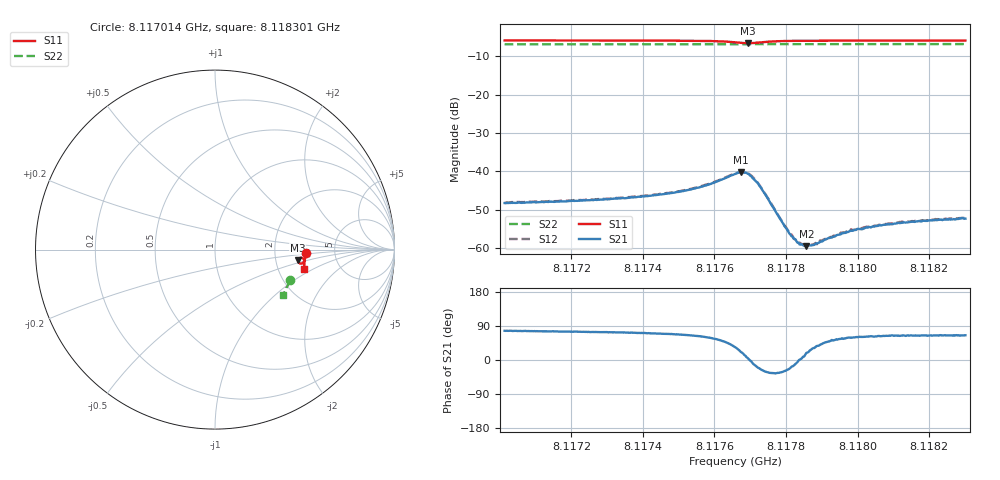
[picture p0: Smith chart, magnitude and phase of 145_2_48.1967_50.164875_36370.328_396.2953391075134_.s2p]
#  HZ  S  RI  R  50.00
! Rohde & Schwarz Vector Network Analyzer
! Rohde-Schwarz,ZNB20-2Port,1311601062101988,3.16
! Created: UTC 3/20/2024, 11:42:34 AM
! freq[Hz]  re:S11  im:S11  re:S21  im:S21  re:S12  im:S12  re:S22  im:S22
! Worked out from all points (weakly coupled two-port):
!   401 points, 8.117014 GHz to 8.118301 GHz, reference 50 ohm
!   highest |S21| = -40.14 dB at 8.117673 GHz (marker M1); lowest = -59.5 dB at 8.117857 GHz (marker M2)
!   lowest |S11| = -6.6 dB at 8.117693 GHz (marker M3), VSWR 2.75, Z = 134 - j20.6 ohm
!   |S11| at or under -10 dB: nowhere
!   |S22| runs from -6.9 to -6.8 dB; largest |S21 - S12| = 0.00034
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8.1170136e9  0.5058 -0.0181  0.000853 0.00376  0.000917 0.0038  0.4172 -0.1705
8.1172292e9  0.5044 -0.0354  0.00113 0.00402  0.00118 0.00403  0.4118 -0.1844
8.1173548e9  0.5028 -0.0462  0.00138 0.00428  0.00144 0.00437  0.4087 -0.1926
8.1174449e9  0.5012 -0.0547  0.0017 0.00466  0.00182 0.00471  0.4061 -0.1984
8.1175093e9  0.499 -0.0618  0.00218 0.00506  0.00227 0.00513  0.4041 -0.2028
8.1175608e9  0.4956 -0.0682  0.00288 0.00555  0.00302 0.00563  0.4024 -0.206
8.1176573e9  0.4727 -0.0769  0.00765 0.00517  0.00788 0.0052  0.3986 -0.2119
8.1176734e9  0.4657 -0.0721  0.00917 0.00357  0.0091 0.00363  0.3979 -0.2126
8.1176928e9  0.4621 -0.0605  0.00928 0.000852  0.00942 0.000717  0.3973 -0.2132
8.1177088e9  0.4662 -0.0507  0.00786 -0.00148  0.00813 -0.0015  0.3971 -0.2138
8.1177282e9  0.4756 -0.0455  0.00572 -0.00253  0.00582 -0.00264  0.3972 -0.2149
8.1177893e9  0.4938 -0.0536  0.00184 -0.00114  0.00187 -0.00119  0.3959 -0.2191
8.1178151e9  0.4963 -0.0581  0.00136 -0.000441  0.00143 -0.000495  0.3952 -0.2208
8.1178279e9  0.4971 -0.0603  0.00124 -0.000193  0.00126 -0.000213  0.3948 -0.2215
8.1178376e9  0.4974 -0.0617  0.00112 1.53e-05  0.00118 -8.17e-06  0.3946 -0.2222
8.1178569e9  0.498 -0.0645  0.001 0.000342  0.00104 0.000318  0.3942 -0.2235
8.117873e9  0.4984 -0.0667  0.000944 0.000542  0.000987 0.000525  0.3934 -0.2246
8.1179149e9  0.4986 -0.0718  0.000889 0.00098  0.000935 0.00101  0.3921 -0.2272
8.117976e9  0.4983 -0.0781  0.000836 0.00142  0.000871 0.0014  0.3901 -0.231
8.1180887e9  0.4971 -0.0885  0.000876 0.00183  0.000921 0.00188  0.3864 -0.2382
8.1182046e9  0.4953 -0.098  0.000973 0.00209  0.00101 0.0021  0.3823 -0.2452
8.1183011e9  0.4938 -0.1055  0.00101 0.0022  0.00106 0.00225  0.3788 -0.251
